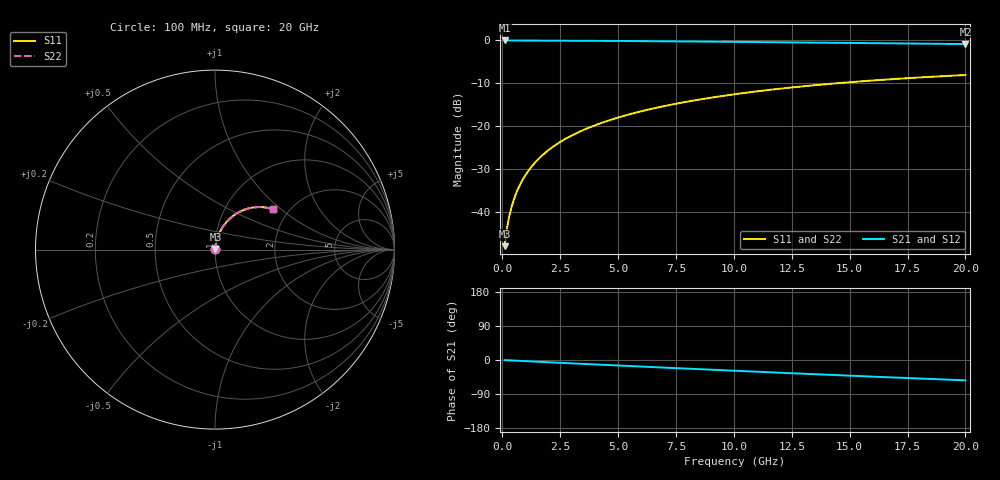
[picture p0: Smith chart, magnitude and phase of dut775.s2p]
! Touchstone file exported from HFSS 2026.1.0
!  File:  C:/ffzhzh/LocalFiles/Ansys_Project_Files/temp_train_TMRDL_775_1783155665_22436.aedt
!  Generated:  05:02:31 PM Jul  4, 2026
!  Design:  TMRDL
!  Project:  temp_train_TMRDL_775_1783155665_22436
! Variables:
!  h_bsmrdl = 2um
!  h_ox = 20um
!  h_rdl = 5um
!  h_sub = 80um
!  h_tmrdl = 5.93um
!  h_tsv = 80um
!  h_via = 3um
!  l_bsmrdl = 300um
!  l_sub = 1273.85um
!  l_tmrdl = 873.85um
!  m_sub = 200um
!  pitch = 42.18um
!  r_tsv = 6um
!  s_tmrdl = 10um
!  w_bsmrdl = 18um
!  w_sub = 500um
!  w_tmrdl = 20.17um
!  x_tsv_center1 = 883.935um
!  x_tsv_center2 = 1201.935um
!  x_tsv_center3 = 2095.955um
!  x_tsv_center4 = 2413.955um
!  x_tsv_center5 = 3307.975um
!  x_tsv_center6 = 3625.975um
# GHz S MA R 50.000000
! Terminal data exported
! Port[1] = TM_RDL1_1_T1
! Port[2] = TM_RDL1_1_T2
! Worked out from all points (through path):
!   200 points, 100 MHz to 20 GHz, reference 50 ohm
!   highest |S21| = -0.02 dB at 100 MHz (marker M1); lowest = -0.9 dB at 20 GHz (marker M2)
!   group delay of S21, straight-line fit = 7.45 ps
!   lowest |S11| = -47.9 dB at 100 MHz (marker M3), VSWR 1.01, Z = 50.3 + j0.293 ohm
!   |S11| at or under -10 dB: start of sweep to 14.42 GHz
!   |S22| runs from -47.9 to -8.1 dB; largest |S21 - S12| = 3.6e-15
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0.1  0.004018 46.4  0.9972 -0.3  0.9972 -0.3  0.004018 46.4
! Gamma 0 0 0 0
! Port Impedance 50 0 50 0
0.2  0.006421 62.0  0.997 -0.6  0.997 -0.6  0.006421 62.0
0.3  0.008936 68.6  0.9969 -0.9  0.9969 -0.9  0.008936 68.6
0.4  0.01147 72.3  0.9967 -1.2  0.9967 -1.2  0.01147 72.3
0.5  0.01403 74.7  0.9966 -1.5  0.9966 -1.5  0.01403 74.7
0.6  0.01661 76.3  0.9965 -1.8  0.9965 -1.8  0.01661 76.3
0.8  0.02179 78.2  0.9962 -2.4  0.9962 -2.4  0.02179 78.2
1.1  0.0296 79.3  0.9958 -3.3  0.9958 -3.3  0.0296 79.3
1.5  0.03999 79.6  0.9951 -4.5  0.9951 -4.5  0.03999 79.6
1.8  0.04774 79.3  0.9944 -5.3  0.9944 -5.3  0.04774 79.3
2.1  0.05542 78.8  0.9937 -6.2  0.9937 -6.2  0.05542 78.8
2.7  0.07059 77.6  0.992 -8.0  0.992 -8.0  0.07059 77.6
3.5  0.09038 75.6  0.9895 -10.3  0.9895 -10.3  0.09039 75.6
4.2  0.1073 73.9  0.987 -12.3  0.987 -12.3  0.1073 73.9
5  0.1263 71.8  0.984 -14.5  0.984 -14.5  0.1263 71.8
5.9  0.1471 69.5  0.9804 -17.1  0.9804 -17.1  0.1471 69.5
6.8  0.1674 67.2  0.9765 -19.6  0.9765 -19.6  0.1674 67.2
8.3  0.2001 63.4  0.9695 -23.7  0.9695 -23.7  0.2001 63.4
10.1  0.2373 58.8  0.9603 -28.6  0.9603 -28.6  0.2373 58.7
13.4  0.2989 50.4  0.942 -37.3  0.942 -37.3  0.2989 50.4
16.7  0.3515 42.3  0.9232 -45.6  0.9232 -45.6  0.3515 42.3
20  0.3948 34.5  0.9053 -53.7  0.9053 -53.7  0.3949 34.5
